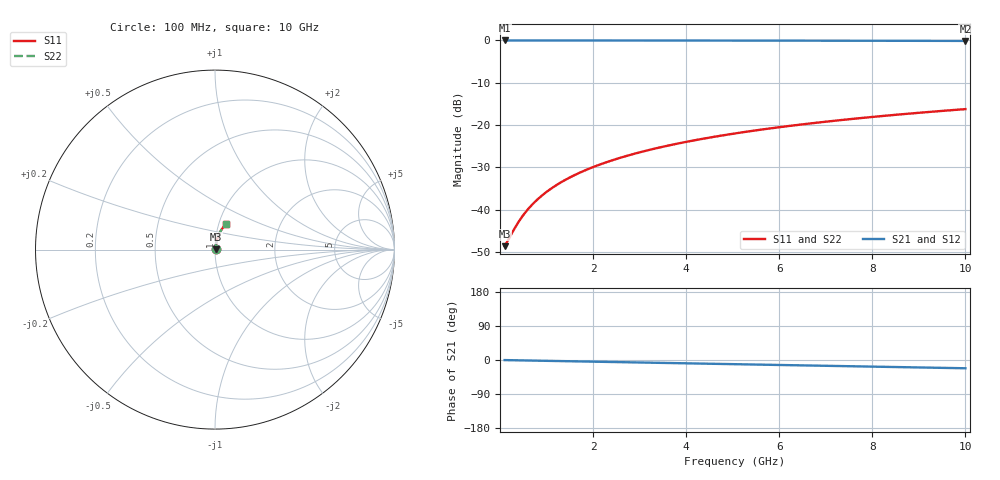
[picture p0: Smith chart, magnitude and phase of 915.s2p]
# Hz S RI R 50.00
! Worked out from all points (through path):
!   100 points, 100 MHz to 10 GHz, reference 50 ohm
!   highest |S21| = -0.03 dB at 100 MHz (marker M1); lowest = -0.1 dB at 10 GHz (marker M2)
!   group delay of S21, straight-line fit = 6.06 ps
!   lowest |S11| = -48.6 dB at 100 MHz (marker M3), VSWR 1.01, Z = 50.3 + j0.158 ohm
!   |S11| at or under -10 dB: start of sweep to end of sweep
!   |S22| runs from -48.6 to -16.2 dB; largest |S21 - S12| = 0
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1e8  0.00336 0.00157  0.9966 -0.00381  0.9966 -0.00381  0.00336 0.00157
3e8  0.00345 0.00472  0.9965 -0.0114  0.9965 -0.0114  0.00345 0.00472
4e8  0.0035 0.00629  0.9964 -0.0152  0.9964 -0.0152  0.0035 0.00629
5e8  0.00357 0.00786  0.9964 -0.019  0.9964 -0.019  0.00357 0.00786
6e8  0.00364 0.00943  0.9963 -0.0228  0.9963 -0.0228  0.00364 0.00943
7e8  0.00373 0.011  0.9961 -0.0266  0.9961 -0.0266  0.00373 0.011
8e8  0.00383 0.0126  0.996 -0.0304  0.996 -0.0304  0.00383 0.0126
1e9  0.00406 0.0157  0.9957 -0.0381  0.9957 -0.0381  0.00406 0.0157
1.2e9  0.00433 0.0188  0.9953 -0.0457  0.9953 -0.0457  0.00433 0.0188
1.5e9  0.00484 0.0235  0.9946 -0.0571  0.9946 -0.0571  0.00484 0.0235
1.8e9  0.00544 0.0282  0.9937 -0.0684  0.9937 -0.0684  0.00544 0.0282
2.1e9  0.00615 0.0329  0.9927 -0.0798  0.9927 -0.0798  0.00615 0.0329
2.5e9  0.00727 0.0391  0.9911 -0.0949  0.9911 -0.0949  0.00727 0.0391
2.9e9  0.00857 0.0452  0.9893 -0.11  0.9893 -0.11  0.00857 0.0452
3.4e9  0.0105 0.0528  0.9866 -0.1288  0.9866 -0.1288  0.0105 0.0528
4.2e9  0.0141 0.0648  0.9814 -0.1588  0.9814 -0.1588  0.0141 0.0648
5.1e9  0.019 0.078  0.9743 -0.1922  0.9743 -0.1922  0.019 0.078
5.9e9  0.0241 0.0895  0.967 -0.2215  0.967 -0.2215  0.0241 0.0895
6.7e9  0.03 0.1005  0.9586 -0.2505  0.9586 -0.2505  0.03 0.1005
7.5e9  0.0364 0.1112  0.9492 -0.2792  0.9492 -0.2792  0.0364 0.1112
8.4e9  0.0445 0.1227  0.9375 -0.3109  0.9375 -0.3109  0.0445 0.1227
1e10  0.0605 0.1417  0.9138 -0.3657  0.9138 -0.3657  0.0605 0.1417
